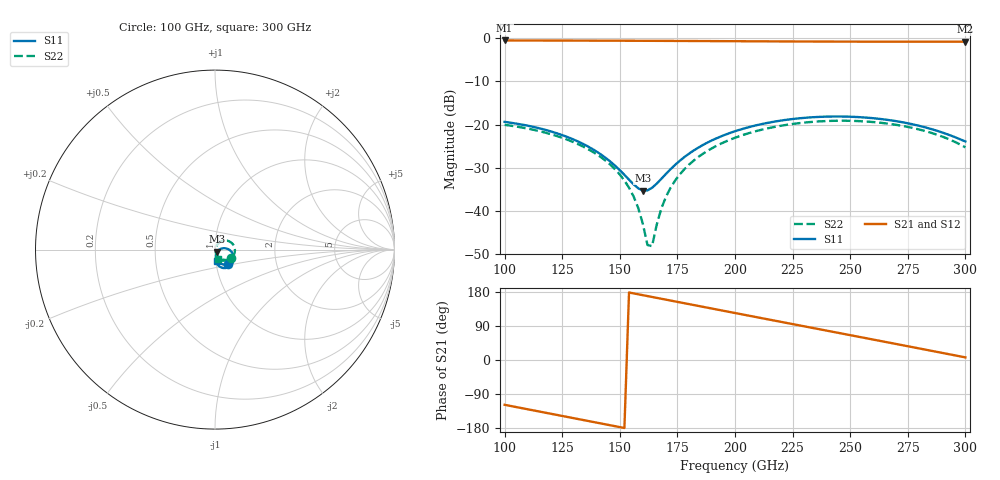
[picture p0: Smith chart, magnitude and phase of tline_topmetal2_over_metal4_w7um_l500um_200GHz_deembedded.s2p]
! Created with skrf 2.0.1 (http://scikit-rf.org).
# GHz S DB R 50.0
!freq dBS11 angS11 dBS21 angS21 dBS12 angS12 dBS22 angS22
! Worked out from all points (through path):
!   101 points, 100 GHz to 300 GHz, reference 50 ohm
!   highest |S21| = -0.50 dB at 100 GHz (marker M1); lowest = -0.8 dB at 300 GHz (marker M2)
!   group delay of S21, straight-line fit = 3.26 ps
!   lowest |S11| = -35.3 dB at 160 GHz (marker M3), VSWR 1.04, Z = 51.3 - j1.2 ohm
!   |S11| at or under -10 dB: start of sweep to end of sweep
!   |S22| runs from -48.1 to -19.1 dB; largest |S21 - S12| = 1.6e-13
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100  -19.36 -47.9  -0.50 -118.3  -0.50 -118.3  -20.04 -29.1
118  -21.25 -66.2  -0.52 -139.4  -0.52 -139.4  -21.90 -45.8
134  -24.44 -79.4  -0.54 -158.3  -0.54 -158.3  -25.05 -60.4
142  -26.97 -82.8  -0.55 -167.7  -0.55 -167.7  -27.60 -67.2
150  -30.53 -79.3  -0.56 -177.1  -0.56 -177.1  -31.55 -72.6
156  -33.82 -64.0  -0.57 175.8  -0.57 175.8  -36.64 -72.7
158  -34.73 -54.4  -0.58 173.4  -0.58 173.4  -39.30 -69.7
160  -35.26 -42.5  -0.58 171.1  -0.58 171.1  -42.96 -61.4
162  -35.22 -29.8  -0.58 168.7  -0.58 168.7  -47.86 -34.5
164  -34.63 -18.1  -0.59 166.4  -0.59 166.4  -48.14 25.0
166  -33.67 -8.7  -0.59 164.0  -0.59 164.0  -43.21 54.0
168  -32.56 -1.9  -0.60 161.6  -0.60 161.6  -39.46 62.9
172  -30.33 6.0  -0.61 156.9  -0.61 156.9  -34.64 66.8
180  -26.73 9.4  -0.62 147.5  -0.62 147.5  -29.27 63.4
188  -24.16 6.2  -0.64 138.1  -0.64 138.1  -26.08 56.8
200  -21.52 -2.8  -0.68 124.0  -0.68 124.0  -23.03 45.3
218  -19.22 -19.5  -0.72 102.9  -0.72 102.9  -20.44 26.7
234  -18.27 -35.0  -0.75 84.3  -0.75 84.3  -19.34 9.5
250  -18.16 -50.4  -0.77 65.6  -0.77 65.6  -19.11 -8.2
268  -19.03 -66.3  -0.78 44.5  -0.78 44.5  -19.88 -28.9
284  -20.83 -77.6  -0.79 25.7  -0.79 25.7  -21.70 -48.6
300  -23.90 -81.3  -0.80 6.9  -0.80 6.9  -25.26 -71.2
